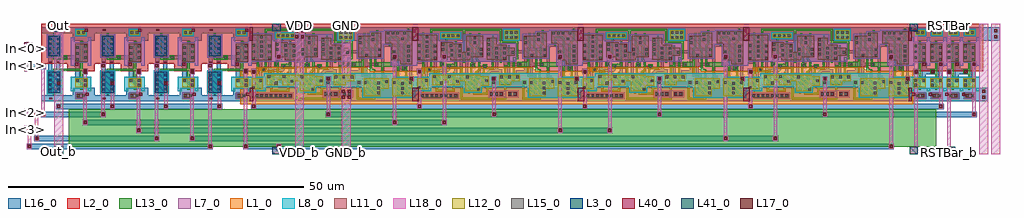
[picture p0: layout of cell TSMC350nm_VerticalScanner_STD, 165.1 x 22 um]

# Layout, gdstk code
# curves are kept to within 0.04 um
from math import pi, radians
import gdstk
lib = gdstk.Library(unit=1e-6, precision=1e-09)
def R(c, l, rs):  # rectangles x0, y0, x1, y1
    for r in rs: c.add(gdstk.rectangle(r[:2], r[2:], *l))
def A(c, l, x, y, w, h, nx, ny, dx, dy):  # array of equal rectangles
    R(c, l, [(x+i*dx, y+j*dy, x+i*dx+w, y+j*dy+h) for i in range(nx) for j in range(ny)])
def P(c, l, *ps):  # polygons
    for p in ps: c.add(gdstk.Polygon(p, *l))
L1_0 = (1, 0)
L2_0 = (2, 0)
L3_0 = (3, 0)
L7_0 = (7, 0)
L8_0 = (8, 0)
L11_0 = (11, 0)
L12_0 = (12, 0)
L13_0 = (13, 0)
L15_0 = (15, 0)
L16_0 = (16, 0)
L17_0 = (17, 0)
L18_0 = (18, 0)
L40_0 = (40, 0)
L41_0 = (41, 0)

nch_cdns_757437017560 = lib.new_cell('nch_CDNS_757437017560')
R(nch_cdns_757437017560, L3_0, [(-0.85,0,-0.15,3.5), (-0.85,0,-0.15,3.5), (-0.15,0,0.5,3.5), (0.5,0,1.2,3.5), (0.5,0,1.2,3.5)])
R(nch_cdns_757437017560, L8_0, [(-1.1,-0.25,1.45,3.75)])
R(nch_cdns_757437017560, L13_0, [(0,-0.4,0.35,3.9)])
A(nch_cdns_757437017560, L15_0, -0.7, 0.35, 0.4, 0.4, 1, 4, 0, 0.8)
A(nch_cdns_757437017560, L15_0, 0.65, 0.35, 0.4, 0.4, 1, 4, 0, 0.8)
R(nch_cdns_757437017560, L16_0, [(-0.85,0,-0.15,3.5), (0.5,0,1.2,3.5)])
nch_cdns_757437017560.add(gdstk.Label('& SerialNumber 000000', (0,0), layer=16, texttype=0))
nch_cdns_757437017560.add(gdstk.Label('& Distributor VIS', (0,0), layer=16, texttype=0))
nch_cdns_757437017560.add(gdstk.Label('& Metric 1', (0,0), layer=16, texttype=0))
nch_cdns_757437017560.add(gdstk.Label('& Version    \t  1.7A', (0,0), layer=16, texttype=0))
nch_cdns_757437017560.add(gdstk.Label('& PDKName     vis35cv', (0,0), layer=16, texttype=0))
nch_cdns_757437017560.add(gdstk.Label('& Vendor VIS Corp.', (0,0), layer=16, texttype=0))
nch_cdns_757437017560.add(gdstk.Label('D', (0.85,1.75), layer=59, texttype=0))
nch_cdns_757437017560.add(gdstk.Label('S', (-0.5,1.75), layer=59, texttype=0))
nch_cdns_757437017560.add(gdstk.Label('G', (0.175,1.75), layer=59, texttype=0))
nch_cdns_757437017560.add(gdstk.Label('& SerialNumber 000000', (0,0), layer=63, texttype=63))
nch_cdns_757437017560.add(gdstk.Label('& Distributor VIS', (0,0), layer=63, texttype=63))
nch_cdns_757437017560.add(gdstk.Label('& Metric 1', (0,0), layer=63, texttype=63))
nch_cdns_757437017560.add(gdstk.Label('& Version    \t  1.7A', (0,0), layer=63, texttype=63))
nch_cdns_757437017560.add(gdstk.Label('& PDKName     vis35cv', (0,0), layer=63, texttype=63))
nch_cdns_757437017560.add(gdstk.Label('& Vendor VIS Corp.', (0,0), layer=63, texttype=63))

pch_cdns_757437017561 = lib.new_cell('pch_CDNS_757437017561')
R(pch_cdns_757437017561, L2_0, [(-2.05,-1.2,2.4,4.7)])
R(pch_cdns_757437017561, L3_0, [(-0.85,0,-0.15,3.5), (-0.85,0,-0.15,3.5), (-0.15,0,0.5,3.5), (0.5,0,1.2,3.5), (0.5,0,1.2,3.5)])
R(pch_cdns_757437017561, L7_0, [(-1.1,-0.25,1.45,3.75)])
R(pch_cdns_757437017561, L13_0, [(0,-0.4,0.35,3.9)])
A(pch_cdns_757437017561, L15_0, -0.7, 0.35, 0.4, 0.4, 1, 4, 0, 0.8)
A(pch_cdns_757437017561, L15_0, 0.65, 0.35, 0.4, 0.4, 1, 4, 0, 0.8)
R(pch_cdns_757437017561, L16_0, [(-0.85,0,-0.15,3.5), (0.5,0,1.2,3.5)])
pch_cdns_757437017561.add(gdstk.Label('& SerialNumber 000000', (0,0), layer=16, texttype=0))
pch_cdns_757437017561.add(gdstk.Label('& Distributor VIS', (0,0), layer=16, texttype=0))
pch_cdns_757437017561.add(gdstk.Label('& Metric 1', (0,0), layer=16, texttype=0))
pch_cdns_757437017561.add(gdstk.Label('& Version    \t  1.7A', (0,0), layer=16, texttype=0))
pch_cdns_757437017561.add(gdstk.Label('& PDKName     vis35cv', (0,0), layer=16, texttype=0))
pch_cdns_757437017561.add(gdstk.Label('& Vendor VIS Corp.', (0,0), layer=16, texttype=0))
pch_cdns_757437017561.add(gdstk.Label('D', (0.85,1.75), layer=59, texttype=0))
pch_cdns_757437017561.add(gdstk.Label('S', (-0.5,1.75), layer=59, texttype=0))
pch_cdns_757437017561.add(gdstk.Label('G', (0.175,1.75), layer=59, texttype=0))
pch_cdns_757437017561.add(gdstk.Label('& SerialNumber 000000', (0,0), layer=63, texttype=63))
pch_cdns_757437017561.add(gdstk.Label('& Distributor VIS', (0,0), layer=63, texttype=63))
pch_cdns_757437017561.add(gdstk.Label('& Metric 1', (0,0), layer=63, texttype=63))
pch_cdns_757437017561.add(gdstk.Label('& Version    \t  1.7A', (0,0), layer=63, texttype=63))
pch_cdns_757437017561.add(gdstk.Label('& PDKName     vis35cv', (0,0), layer=63, texttype=63))
pch_cdns_757437017561.add(gdstk.Label('& Vendor VIS Corp.', (0,0), layer=63, texttype=63))

inv0 = lib.new_cell('INV0')
R(inv0, L2_0, [(-1.6,5.05,3,13.05)])
R(inv0, L7_0, [(-0.3,0.3,1.7,1.5)])
P(inv0, L7_0, [(-1,6),(-1,10.8),(-0.4,10.8),(-0.4,9.95),(1.8,9.95),(1.8,10.8),(2.4,10.8),(2.4,6),(1.8,6),(1.8,6.45),(-0.4,6.45),(-0.4,6)])
R(inv0, L8_0, [(-0.3,11,1.7,12.2)])
P(inv0, L8_0, [(-1,1.7),(-1,4.1),(2.4,4.1),(2.4,1.7),(1.8,1.7),(1.8,2.1),(-0.4,2.1),(-0.4,1.7)])
R(inv0, L11_0, [(-0.05,0.55,1.45,1.25), (-0.4,6.7,1.65,9.7)])
R(inv0, L12_0, [(-0.4,2.35,1.65,3.85), (-0.05,11.25,1.45,11.95)])
P(inv0, L13_0, [(0.45,1.95),(0.45,4.6),(-0.4,4.6),(-0.4,5.4),(0.45,5.4),(0.45,10.1),(0.8,10.1),(0.8,1.95)])
A(inv0, L15_0, 1.1, 6.85, 0.4, 0.4, 1, 3, 0, 1)
A(inv0, L15_0, -0.25, 7.15, 0.4, 0.4, 1, 3, 0, 1)
R(inv0, L15_0, [(0.1,0.7,0.5,1.1), (0.9,0.7,1.3,1.1), (-0.25,2.5,0.15,2.9), (-0.25,3.3,0.15,3.7), (1.1,3.3,1.5,3.7), (-0.2,4.8,0.2,5.2), (0.1,11.4,0.5,11.8), (0.9,11.4,1.3,11.8)])
R(inv0, L16_0, [(-0.45,4.55,0.45,5.45)])
P(inv0, L16_0, [(0.95,3.15),(0.95,9.4),(1.65,9.4),(1.65,6.7),(1.85,6.7),(1.85,5.8),(1.65,5.8),(1.65,3.15)],
  [(-0.4,7),(-0.4,10.2),(-0.7,10.2),(-0.7,12.5),(2.1,12.5),(2.1,10.2),(0.3,10.2),(0.3,7)],
  [(-0.7,0),(-0.7,2.3),(-0.4,2.3),(-0.4,3.85),(0.3,3.85),(0.3,2.3),(2.1,2.3),(2.1,0)])
R(inv0, L40_0, [(-0.625,0.9,-0.125,1.4), (-0.25,4.75,0.25,5.25), (1.15,6,1.65,6.5), (-0.425,11.75,0.075,12.25)])
inv0.add(gdstk.Label('VSS', (-0.375,1.15), layer=40, texttype=0))
inv0.add(gdstk.Label('VDD', (-0.175,12), layer=40, texttype=0))
inv0.add(gdstk.Label('I', (0,5), layer=40, texttype=0))
inv0.add(gdstk.Label('ZN', (1.4,6.25), layer=40, texttype=0))

m1_poly1_cdns_7574370175 = lib.new_cell('M1_POLY1_CDNS_757437017563')
R(m1_poly1_cdns_7574370175, L13_0, [(-0.4,-0.4,0.4,0.4)])
R(m1_poly1_cdns_7574370175, L15_0, [(-0.2,-0.2,0.2,0.2)])
R(m1_poly1_cdns_7574370175, L16_0, [(-0.35,-0.35,0.35,0.35)])

tgate_with_inverter = lib.new_cell('tgate_with_inverter')
R(tgate_with_inverter, L2_0, [(0,12.25,4.45,13.05)])
R(tgate_with_inverter, L13_0, [(2.05,5.15,6.65,5.5), (2.05,7,4.45,7.35)])
R(tgate_with_inverter, L16_0, [(0,0,6.9,1), (8.15,0,9.05,2.3), (1.2,4.95,1.9,7.55), (2.55,4.95,3.25,7.55), (5.6,6.7,5.8,7.05), (4.4,7.05,5.8,7.75), (8.15,10.2,9.05,12.5), (0,11.5,6.9,12.5)])
R(tgate_with_inverter, L40_0, [(1.36,0.3,1.91,0.57), (7.21,5.25,7.69,5.38), (1.38,6.48,1.72,6.63), (2.73,6.48,3.07,6.63), (1.36,11.89,1.91,12.16)])
tgate_with_inverter.add(gdstk.Reference(nch_cdns_757437017560, (2.05,1.45)))
tgate_with_inverter.add(gdstk.Reference(pch_cdns_757437017561, (2.05,7.55)))
tgate_with_inverter.add(gdstk.Reference(inv0, (7.45,0), rotation=pi, x_reflection=True))
tgate_with_inverter.add(gdstk.Reference(m1_poly1_cdns_7574370175, (4.05,7.4)))
tgate_with_inverter.add(gdstk.Label('GND', (1.64,0.43), layer=40, texttype=0))
tgate_with_inverter.add(gdstk.Label('B', (2.9,6.55), layer=40, texttype=0))
tgate_with_inverter.add(gdstk.Label('A', (1.55,6.55), layer=40, texttype=0))
tgate_with_inverter.add(gdstk.Label('Sel', (7.45,5.31), layer=40, texttype=0))
tgate_with_inverter.add(gdstk.Label('VDD', (1.64,12.02), layer=40, texttype=0))

inv0_0 = lib.new_cell('INV0_0')
R(inv0_0, L2_0, [(-1.6,5.05,3,13.05)])
R(inv0_0, L7_0, [(-0.3,0.3,1.7,1.5)])
P(inv0_0, L7_0, [(-1,6),(-1,10.8),(-0.4,10.8),(-0.4,9.95),(1.8,9.95),(1.8,10.8),(2.4,10.8),(2.4,6),(1.8,6),(1.8,6.45),(-0.4,6.45),(-0.4,6)])
R(inv0_0, L8_0, [(-0.3,11,1.7,12.2)])
P(inv0_0, L8_0, [(-1,1.7),(-1,4.1),(2.4,4.1),(2.4,1.7),(1.8,1.7),(1.8,2.1),(-0.4,2.1),(-0.4,1.7)])
R(inv0_0, L11_0, [(-0.05,0.55,1.45,1.25), (-0.4,6.7,1.65,9.7)])
R(inv0_0, L12_0, [(-0.4,2.35,1.65,3.85), (-0.05,11.25,1.45,11.95)])
P(inv0_0, L13_0, [(0.45,1.95),(0.45,4.6),(-0.4,4.6),(-0.4,5.4),(0.45,5.4),(0.45,10.1),(0.8,10.1),(0.8,1.95)])
A(inv0_0, L15_0, 1.1, 6.85, 0.4, 0.4, 1, 3, 0, 1)
A(inv0_0, L15_0, -0.25, 7.15, 0.4, 0.4, 1, 3, 0, 1)
R(inv0_0, L15_0, [(0.1,0.7,0.5,1.1), (0.9,0.7,1.3,1.1), (-0.25,2.5,0.15,2.9), (-0.25,3.3,0.15,3.7), (1.1,3.3,1.5,3.7), (-0.2,4.8,0.2,5.2), (0.1,11.4,0.5,11.8), (0.9,11.4,1.3,11.8)])
R(inv0_0, L16_0, [(-0.45,4.55,0.45,5.45)])
P(inv0_0, L16_0, [(0.95,3.15),(0.95,9.4),(1.65,9.4),(1.65,6.7),(1.85,6.7),(1.85,5.8),(1.65,5.8),(1.65,3.15)],
  [(-0.4,7),(-0.4,10.2),(-0.7,10.2),(-0.7,12.5),(2.1,12.5),(2.1,10.2),(0.3,10.2),(0.3,7)],
  [(-0.7,0),(-0.7,2.3),(-0.4,2.3),(-0.4,3.85),(0.3,3.85),(0.3,2.3),(2.1,2.3),(2.1,0)])
R(inv0_0, L40_0, [(-0.625,0.9,-0.125,1.4), (-0.25,4.75,0.25,5.25), (1.15,6,1.65,6.5), (-0.425,11.75,0.075,12.25)])
inv0_0.add(gdstk.Label('VSS!', (-0.375,1.15), layer=40, texttype=0))
inv0_0.add(gdstk.Label('VDD!', (-0.175,12), layer=40, texttype=0))
inv0_0.add(gdstk.Label('I', (0,5), layer=40, texttype=0))
inv0_0.add(gdstk.Label('ZN', (1.4,6.25), layer=40, texttype=0))

m2_m1_cdns_757437017560 = lib.new_cell('M2_M1_CDNS_757437017560')
R(m2_m1_cdns_757437017560, L16_0, [(-0.45,-0.45,0.45,0.45)])
R(m2_m1_cdns_757437017560, L17_0, [(-0.25,-0.25,0.25,0.25)])
R(m2_m1_cdns_757437017560, L18_0, [(-0.4,-0.4,0.4,0.4)])

dfcn1 = lib.new_cell('DFCN1')
P(dfcn1, L1_0, [(-1.6,-0.55),(-1.6,5.05),(1.1,5.05),(1.1,5.7),(19.8,5.7),(20.45,5.05),(28.2,5.05),(28.2,-0.55)])
P(dfcn1, L2_0, [(-0.9,5.05),(-0.9,13.05),(28.9,13.05),(28.9,5.05),(21.15,5.05),(20.5,5.7),(1.8,5.7),(1.8,5.05)])
R(dfcn1, L7_0, [(0.6,0.3,7.4,1.5), (12.3,0.55,17.5,1.85)])
P(dfcn1, L7_0, [(-0.3,6),(-0.3,10.8),(0,10.8),(0,11.45),(3.95,11.45),(3.95,10.2),(6.65,10.2),(6.65,9.95),(8.1,9.95),(8.1,11.35),(14,11.35),(14,9.8),(17.1,9.8),(17.1,6.65),(0.3,6.65),(0.3,6)],
  [(23.8,6),(23.8,9.5),(22.65,9.5),(22.65,7.15),(18.05,7.15),(18.05,11.4),(20.25,11.4),(20.25,11.85),(22.65,11.85),(22.65,12.1),(28,12.1),(28,10.8),(28.3,10.8),(28.3,6)])
R(dfcn1, L8_0, [(14.8,10.2,17.65,12.2), (4.2,10.45,7.8,11.65)])
P(dfcn1, L8_0, [(19,0.55),(19,2.35),(11.25,2.35),(11.25,1.4),(8.2,1.4),(8.2,2.35),(2.7,2.35),(2.7,1.7),(-0.3,1.7),(-0.3,4.1),(2.35,4.1),(2.35,4.75),(24.275,4.75),(24.275,4.1),(28.3,4.1),(28.3,1.7),(28,1.7),(28,0.55)])
R(dfcn1, L11_0, [(0.85,0.55,7.15,1.25), (12.55,0.85,14.85,1.55), (15.7,0.85,17.2,1.55), (0.3,6.9,3.7,11.2)])
P(dfcn1, L11_0, [(13.5,6.9),(13.5,7),(12.05,7),(12.05,10.7),(13.75,10.7),(13.75,9.5),(15.45,9.5),(15.45,9.05),(16.85,9.05),(16.85,7.65),(15.45,7.65),(15.45,6.9)],
  [(25.45,6.25),(25.45,6.9),(24.05,6.9),(24.05,9.8),(22.95,9.8),(22.95,11.85),(27.5,11.85),(27.5,6.25)],
  [(5.9,6.9),(5.9,7.45),(4.3,7.45),(4.3,9.95),(6.4,9.95),(6.4,9.7),(7.85,9.7),(7.85,8.3),(8.6,8.3),(8.6,11.05),(11.45,11.05),(11.45,7.4),(9.25,7.4),(9.25,6.9)],
  [(18.3,7.4),(18.3,11.05),(20.5,11.05),(20.5,11.6),(22.25,11.6),(22.25,7.4)])
R(dfcn1, L12_0, [(24.1,0.85,27.5,3.85), (0.3,2,2.2,3.85), (15.1,10.45,17.4,11.95), (4.45,10.7,7.55,11.4)])
P(dfcn1, L12_0, [(19.25,0.85),(19.25,3.85),(23.5,3.85),(23.5,2.1),(22.1,2.1),(22.1,0.85)],
  [(8.45,1.65),(8.45,3.4),(7.5,3.4),(7.5,2.7),(5.5,2.7),(5.5,3.5),(4.75,3.5),(4.75,2.7),(2.9,2.7),(2.9,4.5),(11,4.5),(11,4.2),(12.4,4.2),(12.4,2.6),(11,2.6),(11,1.65)],
  [(14.2,2.7),(14.2,4.5),(17.65,4.5),(17.65,3.4),(16.2,3.4),(16.2,2.7)])
P(dfcn1, L13_0, [(4.95,3.1),(4.95,4.7),(4.55,4.7),(4.55,5.9),(4.1,5.9),(4.1,6.7),(4.55,6.7),(4.55,7.25),(5.15,7.25),(5.15,10.35),(5.5,10.35),(5.5,6.9),(4.9,6.9),(4.9,5.05),(5.3,5.05),(5.3,3.1)],
  [(1.15,1.6),(1.15,2.75),(1,2.9),(1,4.6),(0.3,4.6),(0.3,5.4),(1.15,5.4),(1.15,11.6),(1.5,11.6),(1.5,4.6),(1.35,4.6),(1.35,3.05),(1.5,2.9),(1.5,1.6)],
  [(9.8,1.05),(9.8,2.65),(10.15,3),(10.15,4.95),(10.6,5.4),(10.6,6.6),(10.25,6.95),(10.25,9.25),(10.6,9.6),(10.6,11.45),(10.95,11.45),(10.95,9.45),(10.6,9.1),(10.6,7.1),(10.95,6.75),(10.95,5.25),(10.5,4.8),(10.5,2.85),(10.15,2.5),(10.15,1.4),(12,1.4),(12,2.4),(12.8,2.4),(12.8,3.55),(13.6,3.55),(13.6,2.75),(13.15,2.75),(13.15,2.05),(12.35,2.05),(12.35,1.05)],
  [(18.05,0.25),(18.05,3.55),(18.85,3.55),(18.85,2.75),(18.4,2.75),(18.4,0.6),(20.9,0.6),(20.9,5),(20.25,5),(20.25,8.65),(19.95,8.95),(19.95,11.45),(20.3,11.45),(20.3,9.1),(20.6,8.8),(20.6,5.35),(21.25,5.35),(21.25,0.25)],
  [(8.95,1.25),(8.95,3.1),(9.3,3.45),(9.3,6.4),(9.45,6.4),(9.45,9.1),(9.1,9.45),(9.1,11.45),(9.45,11.45),(9.45,9.6),(9.8,9.25),(9.8,6.4),(10.15,6.4),(10.15,5.6),(9.65,5.6),(9.65,3.3),(9.3,2.95),(9.3,1.25)],
  [(11.2,2.2),(11.2,4.65),(11.4,4.85),(11.4,6.25),(12.2,6.25),(12.2,5.7),(12.9,5.7),(12.9,11.1),(13.25,11.1),(13.25,5.35),(11.75,5.35),(11.75,4.7),(11.55,4.5),(11.55,2.2)],
  [(18.85,1.5),(18.85,1.85),(19.95,1.85),(20.1,2),(20.1,4.15),(18.9,4.15),(18.9,5.85),(17.25,5.85),(17.25,6.65),(18.9,6.65),(18.9,8.95),(19.15,9.2),(19.15,11.45),(19.5,11.45),(19.5,9.05),(19.25,8.8),(19.25,4.5),(20.45,4.5),(20.45,1.85),(20.1,1.5)],
  [(24.95,0.45),(24.9,5.8),(22.6,5.8),(22.6,2.9),(22.75,2.75),(22.75,1.7),(22.4,1.7),(22.4,2.6),(22.25,2.75),(22.25,5.8),(21.05,5.8),(21.05,9.45),(21.4,9.8),(21.4,12),(21.75,12),(21.75,9.65),(21.4,9.3),(21.4,6.6),(24.9,6.6),(24.9,10.5),(24.75,10.65),(23.95,10.65),(23.85,10.55),(23.85,9.4),(23.5,9.4),(23.5,10.7),(23.8,11),(24.9,11),(25.25,10.65),(25.3,0.45)],
  [(26.3,0.45),(26.3,5.25),(25.8,5.25),(25.8,6.05),(25.95,6.05),(25.95,9.8),(26.65,10.5),(26.65,12.25),(27,12.25),(27,10.35),(26.3,9.65),(26.3,6.05),(26.65,6.05),(26.65,0.45)],
  [(3.45,1.6),(3.45,3.5),(3.75,3.8),(3.75,4.9),(1.95,4.9),(1.95,5.7),(2.5,5.7),(2.5,12.25),(14.6,12.25),(14.6,10.25),(17.4,10.25),(17.4,7.1),(16.8,7.1),(16.8,3),(16.45,3),(16.45,7.45),(17.05,7.45),(17.05,9.9),(14.6,9.9),(14.6,6.5),(14.25,6.5),(14.25,11.9),(8.4,11.9),(8.4,6.5),(8.05,6.5),(8.05,11.9),(2.85,11.9),(2.85,5.25),(4.1,5.25),(4.1,3.65),(3.8,3.35),(3.8,1.95),(6.3,1.95),(6.3,4.9),(6.65,4.9),(6.65,1.6)],
  [(7.7,0.25),(7.7,5.5),(5.35,5.5),(5.35,6.3),(6.65,6.3),(6.65,10.1),(7,10.1),(7,5.85),(8.05,5.85),(8.05,0.6),(15.05,0.6),(15.05,6.05),(15.65,6.05),(15.65,9.45),(16,9.45),(16,5.7),(15.4,5.7),(15.4,0.25)])
A(dfcn1, L15_0, 1, 0.7, 0.4, 0.4, 8, 1, 0.8, 0)
A(dfcn1, L15_0, 12.7, 1, 0.4, 0.4, 3, 1, 0.8, 0)
A(dfcn1, L15_0, 21.55, 1.15, 0.4, 0.4, 1, 3, 0, 0.85)
A(dfcn1, L15_0, 25.6, 1.15, 0.4, 0.4, 1, 3, 0, 0.8)
A(dfcn1, L15_0, 26.65, 6.65, 0.4, 0.4, 1, 4, 0, 0.8)
A(dfcn1, L15_0, 13.55, 7.15, 0.4, 0.4, 1, 3, 0, 0.8)
A(dfcn1, L15_0, 1.8, 7.45, 0.4, 0.4, 1, 5, 0, 0.8)
A(dfcn1, L15_0, 12.2, 7.75, 0.4, 0.4, 1, 4, 0, 0.8)
A(dfcn1, L15_0, 15.25, 10.6, 0.4, 0.4, 3, 2, 0.8, 0.8)
A(dfcn1, L15_0, 4.6, 10.85, 0.4, 0.4, 4, 1, 0.8, 0)
A(dfcn1, L15_0, 23.2, 11.3, 0.4, 0.4, 3, 1, 0.8, 0)
R(dfcn1, L15_0, [(15.85,1,16.25,1.4), (16.65,1,17.05,1.4), (10.45,1.8,10.85,2.2), (0.45,2.15,0.85,2.55), (4.2,2.85,4.6,3.25), (13,2.95,13.4,3.35), (18.25,2.95,18.65,3.35), (19.4,2.95,19.8,3.35), (24.25,2.95,24.65,3.35), (26.95,2.95,27.35,3.35), (22.95,3.1,23.35,3.5), (6.95,3.15,7.35,3.55), (11.85,3.25,12.25,3.65), (1.65,3.3,2.05,3.7), (8.6,3.85,9,4.25), (14.35,3.9,14.75,4.3), (15.7,3.9,16.1,4.3), (17.1,3.9,17.5,4.3), (3.05,3.95,3.45,4.35), (5.6,3.95,6,4.35), (0.5,4.8,0.9,5.2), (2.15,5.1,2.55,5.5), (26,5.45,26.4,5.85), (11.6,5.65,12,6.05), (5.55,5.7,5.95,6.1), (9.55,5.8,9.95,6.2), (21.25,6,21.65,6.4), (17.45,6.05,17.85,6.45), (4.3,6.1,4.7,6.5), (0.45,7.05,0.85,7.45), (14.9,7.05,15.3,7.45), (24.2,7.05,24.6,7.45), (3.15,7.1,3.55,7.5), (7.3,7.5,7.7,7.9), (19.55,7.55,19.95,7.95), (21.7,7.55,22.1,7.95), (5.95,7.6,6.35,8), (8.75,7.75,9.15,8.15), (10.9,7.75,11.3,8.15), (14.9,7.95,15.3,8.35), (16.3,8.05,16.7,8.45), (0.45,8.15,0.85,8.55), (3.15,8.15,3.55,8.55), (24.2,8.15,24.6,8.55), (7.3,8.3,7.7,8.7), (5.95,8.4,6.35,8.8), (21.7,8.5,22.1,8.9), (4.45,8.55,4.85,8.95), (8.75,8.55,9.15,8.95), (10.9,8.55,11.3,8.95), (14.9,8.75,15.3,9.15), (3.15,9.15,3.55,9.55), (7.3,9.15,7.7,9.55), (0.45,9.2,0.85,9.6), (5.85,9.2,6.25,9.6), (4.45,9.4,4.85,9.8), (9.85,9.7,10.25,10.1), (18.45,9.7,18.85,10.1), (20.65,10.25,21.05,10.65), (25.6,10.35,26,10.75), (9.85,10.5,10.25,10.9), (18.45,10.5,18.85,10.9), (20.65,11.05,21.05,11.45), (25.95,11.3,26.35,11.7)])
R(dfcn1, L16_0, [(0.25,4.55,1.15,5.45)])
P(dfcn1, L16_0, [(12.85,2.8),(12.85,4.2),(13.75,4.2),(13.75,3.3),(18.1,3.3),(18.1,3.5),(18.8,3.5),(18.8,2.8)],
  [(4.15,5.95),(4.15,6.65),(4.35,6.65),(4.35,7.95),(5.35,7.95),(5.35,7.05),(4.85,7.05),(4.85,5.95)],
  [(24.1,2.8),(24.1,3.5),(24.4,3.5),(24.4,6.9),(24.05,6.9),(24.05,8.7),(24.75,8.7),(24.75,7.95),(24.95,7.95),(24.95,7.05),(24.9,7.05),(24.9,2.8)],
  [(26.8,2.8),(26.8,3.5),(26.85,3.5),(26.85,4.2),(27,4.2),(27,6.5),(26.5,6.5),(26.5,9.6),(27.2,9.6),(27.2,7.2),(27.5,7.2),(27.5,4.2),(27.75,4.2),(27.75,3.3),(27.5,3.3),(27.5,2.8)],
  [(1.65,7.3),(1.65,10.2),(0,10.2),(0,12.5),(28,12.5),(28,10.2),(21.2,10.2),(21.2,10.1),(20.5,10.1),(20.5,10.2),(19,10.2),(19,9.55),(18.3,9.55),(18.3,10.2),(12.75,10.2),(12.75,7.6),(12.05,7.6),(12.05,10.2),(10.4,10.2),(10.4,9.55),(9.7,9.55),(9.7,10.2),(5,10.2),(5,8.4),(4.3,8.4),(4.3,10.2),(2.35,10.2),(2.35,7.3)],
  [(0,0),(0,2.3),(0.3,2.3),(0.3,2.7),(1,2.7),(1,2.3),(4.05,2.3),(4.05,3.4),(4.75,3.4),(4.75,2.3),(10.3,2.3),(10.3,2.35),(11,2.35),(11,2.3),(21.4,2.3),(21.4,3.4),(22.1,3.4),(22.1,2.3),(25.45,2.3),(25.45,3.3),(26.15,3.3),(26.15,2.3),(28,2.3),(28,0)],
  [(19.25,2.8),(19.25,3.5),(19.4,3.5),(19.4,8.1),(20.1,8.1),(20.1,7.4),(19.9,7.4),(19.9,6.45),(21.1,6.45),(21.1,6.55),(21.8,6.55),(21.8,5.85),(21.1,5.85),(21.1,5.95),(19.9,5.95),(19.9,3.5),(19.95,3.5),(19.95,2.8)],
  [(8.45,3.7),(8.45,8.1),(8.6,8.1),(8.6,9.1),(9.3,9.1),(9.3,8.1),(10.75,8.1),(10.75,9.1),(11.45,9.1),(11.45,7.6),(8.95,7.6),(8.95,4.4),(9.15,4.4),(9.15,3.7)],
  [(11.7,3.1),(11.7,3.8),(11.85,3.8),(11.85,4.6),(12.6,5.35),(13.5,5.35),(13.5,6.65),(10.1,6.65),(10.1,5.65),(9.4,5.65),(9.4,6.35),(9.6,6.35),(9.6,7.15),(13.4,7.15),(13.4,9.3),(14.1,9.3),(14.1,7),(14,7),(14,5.35),(14.7,5.35),(14.7,4.45),(14.9,4.45),(14.9,3.75),(14.2,3.75),(14.2,4.85),(12.85,4.85),(12.35,4.35),(12.4,3.1)],
  [(15.55,3.75),(15.55,6),(14.95,6),(14.95,6.9),(14.75,6.9),(14.75,9.3),(15.45,9.3),(15.45,6.5),(17.3,6.5),(17.3,6.6),(18,6.6),(18,5.9),(17.3,5.9),(17.3,6),(16.05,6),(16.05,4.45),(16.25,4.45),(16.25,3.75)],
  [(1.5,3.15),(1.5,3.85),(1.6,3.85),(1.6,6.3),(0.3,6.3),(0.3,9.75),(1,9.75),(1,6.8),(2.1,6.8),(2.1,5.65),(2.7,5.65),(2.7,4.95),(2.1,4.95),(2.1,3.85),(2.2,3.85),(2.2,3.15)],
  [(2.9,3.8),(2.9,4.5),(3.15,4.5),(3.15,6.95),(3,6.95),(3,9.7),(3.7,9.7),(3.65,5.5),(5.15,5.5),(5.4,5.75),(5.4,6.25),(6.1,6.25),(6.1,5.55),(5.55,5),(3.65,5),(3.65,3.8)],
  [(5.45,3.8),(5.45,4.5),(5.95,4.5),(6.55,5.1),(6.55,6.5),(6,7.05),(6,7.45),(5.8,7.45),(5.8,9.05),(5.7,9.05),(5.7,9.75),(6.5,9.75),(6.5,7.3),(7.05,6.75),(7.05,4.8),(6.25,4),(6.15,4),(6.15,3.8)],
  [(7.5,2.75),(7.5,3),(6.8,3),(6.8,3.7),(7.5,3.7),(7.5,7.35),(7.15,7.35),(7.15,9.7),(7.85,9.7),(7.85,8.05),(8,8.05),(8,3.25),(9.55,3.25),(10.6,4.3),(10.6,6),(11.45,6),(11.45,6.2),(12.15,6.2),(12.15,5.55),(12.1,5.5),(11.1,5.5),(11.1,4.05),(9.8,2.75)],
  [(22.55,2.95),(22.55,3.9),(22.25,3.9),(22.25,7.4),(21.55,7.4),(21.55,8.55),(18.95,8.55),(18.95,4.75),(17.65,4.75),(17.65,3.75),(16.95,3.75),(16.95,5.25),(18.45,5.25),(18.45,8.1),(16.85,8.1),(16.85,7.9),(16.15,7.9),(16.15,8.6),(18.45,8.6),(18.45,9.05),(22.25,9.05),(22.25,9.7),(25.95,9.7),(25.95,6),(26.55,6),(26.55,5.3),(25.45,5.3),(25.45,9.2),(22.75,9.2),(22.75,4.4),(23.05,4.4),(23.05,3.65),(23.5,3.65),(23.5,2.95)])
R(dfcn1, L40_0, [(0,0,0.55,2.3), (27.45,0,28,2.3), (0,10.2,0.51,12.5), (27.45,10.2,28,12.5)])
R(dfcn1, L41_0, [(13.05,3.5,13.55,4), (27.05,3.5,27.55,4), (0.45,4.75,0.95,5.25), (4.65,7.25,5.15,7.75), (24.25,7.25,24.75,7.75)])
dfcn1.add(gdstk.Reference(m2_m1_cdns_757437017560, (0.7,5)))
dfcn1.add(gdstk.Reference(m2_m1_cdns_757437017560, (4.9,7.5)))
dfcn1.add(gdstk.Reference(m2_m1_cdns_757437017560, (13.3,3.74)))
dfcn1.add(gdstk.Reference(m2_m1_cdns_757437017560, (27.3,3.75)))
dfcn1.add(gdstk.Reference(m2_m1_cdns_757437017560, (24.5,7.5)))
dfcn1.add(gdstk.Label('VSS', (0.28,1.21), layer=40, texttype=0))
dfcn1.add(gdstk.Label('VDD', (0.22,11.42), layer=40, texttype=0))
dfcn1.add(gdstk.Label('VDD', (27.67,11.42), layer=40, texttype=0))
dfcn1.add(gdstk.Label('VSS', (27.73,1.21), layer=40, texttype=0))
dfcn1.add(gdstk.Label('& SerialNumber 000000', (0.7,0), layer=11, texttype=0))
dfcn1.add(gdstk.Label('& Distributor Vanguard', (0.7,0), layer=11, texttype=0))
dfcn1.add(gdstk.Label('& Metric 350.0', (0.7,0), layer=11, texttype=0))
dfcn1.add(gdstk.Label('& Version 400c', (0.7,0), layer=11, texttype=0))
dfcn1.add(gdstk.Label('& Product tcb773p', (0.7,0), layer=11, texttype=0))
dfcn1.add(gdstk.Label('& Vendor Taiwan Semiconductor Manufacturing Corp.', (0.7,0), layer=11, texttype=0))
dfcn1.add(gdstk.Label('& Vendor Taiwan Semiconductor Manufacturing Corp.', (28.15,0), layer=11, texttype=0))
dfcn1.add(gdstk.Label('& Product tcb773p', (28.15,0), layer=11, texttype=0))
dfcn1.add(gdstk.Label('& Version 400c', (28.15,0), layer=11, texttype=0))
dfcn1.add(gdstk.Label('& Metric 350.0', (28.15,0), layer=11, texttype=0))
dfcn1.add(gdstk.Label('& Distributor Vanguard', (28.15,0), layer=11, texttype=0))
dfcn1.add(gdstk.Label('& SerialNumber 000000', (28.15,0), layer=11, texttype=0))
dfcn1.add(gdstk.Label('QN', (27.3,3.75), layer=41, texttype=0))
dfcn1.add(gdstk.Label('Q', (24.5,7.5), layer=41, texttype=0))
dfcn1.add(gdstk.Label('CDN', (13.3,3.75), layer=41, texttype=0))
dfcn1.add(gdstk.Label('CP', (0.7,5), layer=41, texttype=0))
dfcn1.add(gdstk.Label('D', (4.9,7.5), layer=41, texttype=0))
dfcn1.add(gdstk.Label('DFCN1', (0,0), layer=62, texttype=0))

m2_m1_cdns_757437017561 = lib.new_cell('M2_M1_CDNS_757437017561')
R(m2_m1_cdns_757437017561, L16_0, [(-0.95,-0.95,0.95,0.95)])
R(m2_m1_cdns_757437017561, L17_0, [(-0.75,-0.75,-0.25,-0.25), (0.25,-0.75,0.75,-0.25), (-0.75,0.25,-0.25,0.75), (0.25,0.25,0.75,0.75)])
R(m2_m1_cdns_757437017561, L18_0, [(-0.9,-0.9,0.9,0.9)])

m2_m1_cdns_757437017562 = lib.new_cell('M2_M1_CDNS_757437017562')
R(m2_m1_cdns_757437017562, L16_0, [(-0.45,-0.95,0.45,0.95)])
R(m2_m1_cdns_757437017562, L17_0, [(-0.25,-0.75,0.25,-0.25), (-0.25,0.25,0.25,0.75)])
R(m2_m1_cdns_757437017562, L18_0, [(-0.4,-0.9,0.4,0.9)])

tsmc350nm_verticalscanne = lib.new_cell('TSMC350nm_VerticalScanner_STD')
R(tsmc350nm_verticalscanne, L13_0, [(7.55,1.24,154.33,7.57)])
R(tsmc350nm_verticalscanne, L16_0, [(0,3.5,1.4,4.9), (0,6.3,1.5,7.7), (161.4,8.95,163.1,11.25), (152.55,13.5,153.25,14.4), (158.15,13.5,158.85,14.4), (0,14,1.4,15.4), (152.55,14.4,152.75,14.75), (158.15,14.4,158.35,14.75), (0,17.5,1.4,18.9), (161.4,19.15,165.1,21.44)])
R(tsmc350nm_verticalscanne, L18_0, [(42,0,43.4,1.23), (149.8,0,151.2,1.23), (156.1,0,157.5,1.23), (42,20.77,43.4,22), (149.8,20.77,151.2,22), (156.1,20.77,157.5,22)])
R(tsmc350nm_verticalscanne, L40_0, [(0,3.5,1.4,4.9), (0,6.3,1.5,7.7), (0,14,1.4,15.4), (0,17.5,1.4,18.9)])
R(tsmc350nm_verticalscanne, L41_0, [(5.15,0,6.65,1.27), (42,0,43.4,1.23), (45.86,0,47.36,1.28), (53.79,0,55.29,1.23), (149.8,0,151.2,1.23), (156.1,0,157.5,1.23), (5.15,20.68,6.65,22), (42,20.77,43.4,22), (45.86,20.77,47.36,22), (149.8,20.77,151.2,22), (156.1,20.77,157.5,22), (53.79,20.84,55.29,22)])
tsmc350nm_verticalscanne.add(gdstk.FlexPath([(127.4,2.65),(28,2.65)], 0.9, ends="flush", simple_path=True, layer=16, datatype=0))  # L16_0
tsmc350nm_verticalscanne.add(gdstk.FlexPath([(31.8,1.3),(0.93,1.3)], 0.9, ends="flush", simple_path=True, layer=16, datatype=0))  # L16_0
tsmc350nm_verticalscanne.add(gdstk.FlexPath([(13.7,6.7),(3.67,6.7)], 0.9, ends="flush", simple_path=True, layer=16, datatype=0))  # L16_0
tsmc350nm_verticalscanne.add(gdstk.FlexPath([(33.37,8.05),(5.45,8.05)], 0.9, ends="flush", simple_path=True, layer=16, datatype=0))  # L16_0
tsmc350nm_verticalscanne.add(gdstk.FlexPath([(37.45,1.3),(147,1.3)], 0.9, ends="flush", simple_path=True, layer=16, datatype=0))  # L16_0
tsmc350nm_verticalscanne.add(gdstk.FlexPath([(19.1,4),(99.4,4)], 0.9, ends="flush", simple_path=True, layer=16, datatype=0))  # L16_0
tsmc350nm_verticalscanne.add(gdstk.FlexPath([(10.05,5.35),(71.4,5.35)], 0.9, ends="flush", simple_path=True, layer=16, datatype=0))  # L16_0
tsmc350nm_verticalscanne.add(gdstk.FlexPath([(0,4.19),(1.35,4.19)], 0.5, ends="flush", simple_path=True, layer=16, datatype=0))  # L16_0
tsmc350nm_verticalscanne.add(gdstk.FlexPath([(0,7.04),(2.4,7.04)], 0.5, ends="flush", simple_path=True, layer=16, datatype=0))  # L16_0
tsmc350nm_verticalscanne.add(gdstk.FlexPath([(0,14.95),(3.65,14.95)], 0.5, ends="flush", simple_path=True, layer=16, datatype=0))  # L16_0
tsmc350nm_verticalscanne.add(gdstk.FlexPath([(0,17.8),(4.22,17.8)], 0.5, ends="flush", simple_path=True, layer=16, datatype=0))  # L16_0
tsmc350nm_verticalscanne.add(gdstk.FlexPath([(1.75,2.65),(22.45,2.65)], 0.9, ends="flush", simple_path=True, layer=16, datatype=0))  # L16_0
tsmc350nm_verticalscanne.add(gdstk.FlexPath([(38.6,8.05),(155.4,8.05)], 0.9, ends="flush", simple_path=True, layer=16, datatype=0))  # L16_0
tsmc350nm_verticalscanne.add(gdstk.FlexPath([(51.2,6.7),(161.12,6.7)], 0.9, ends="flush", simple_path=True, layer=16, datatype=0))  # L16_0
tsmc350nm_verticalscanne.add(gdstk.FlexPath([(43.1,1.54),(43.1,0)], 0.6, ends="flush", simple_path=True, layer=18, datatype=0))  # L18_0
tsmc350nm_verticalscanne.add(gdstk.FlexPath([(43.1,22),(43.1,16.05)], 0.6, ends="flush", simple_path=True, layer=18, datatype=0))  # L18_0
tsmc350nm_verticalscanne.add(gdstk.FlexPath([(54.54,22),(54.54,0)], 1.5, ends="flush", simple_path=True, layer=18, datatype=0))  # L18_0
tsmc350nm_verticalscanne.add(gdstk.FlexPath([(46.61,22),(46.61,0)], 1.5, ends="flush", simple_path=True, layer=18, datatype=0))  # L18_0
tsmc350nm_verticalscanne.add(gdstk.FlexPath([(33.05,12.01),(33.05,7.6)], 0.6, ends="flush", simple_path=True, layer=18, datatype=0))  # L18_0
tsmc350nm_verticalscanne.add(gdstk.FlexPath([(0.9,4.34),(0.9,0.85)], 0.6, ends="flush", simple_path=True, layer=18, datatype=0))  # L18_0
tsmc350nm_verticalscanne.add(gdstk.FlexPath([(14.95,12.01),(14.95,7.6)], 0.6, ends="flush", simple_path=True, layer=18, datatype=0))  # L18_0
tsmc350nm_verticalscanne.add(gdstk.FlexPath([(24,12.01),(24,7.6)], 0.6, ends="flush", simple_path=True, layer=18, datatype=0))  # L18_0
tsmc350nm_verticalscanne.add(gdstk.FlexPath([(2.1,2.25),(2.1,7.24)], 0.6, ends="flush", simple_path=True, layer=18, datatype=0))  # L18_0
tsmc350nm_verticalscanne.add(gdstk.FlexPath([(3.2,6.3),(3.2,15.14)], 0.6, ends="flush", simple_path=True, layer=18, datatype=0))  # L18_0
tsmc350nm_verticalscanne.add(gdstk.FlexPath([(31.5,14.94),(31.5,1.28)], 0.6, ends="flush", simple_path=True, layer=18, datatype=0))  # L18_0
tsmc350nm_verticalscanne.add(gdstk.FlexPath([(22.45,14.94),(22.45,2.2)], 0.6, ends="flush", simple_path=True, layer=18, datatype=0))  # L18_0
tsmc350nm_verticalscanne.add(gdstk.FlexPath([(13.4,14.94),(13.4,6.25)], 0.6, ends="flush", simple_path=True, layer=18, datatype=0))  # L18_0
tsmc350nm_verticalscanne.add(gdstk.FlexPath([(37.5,13.95),(37.5,0.85)], 0.6, ends="flush", simple_path=True, layer=18, datatype=0))  # L18_0
tsmc350nm_verticalscanne.add(gdstk.FlexPath([(28.45,13.95),(28.45,2.44)], 0.6, ends="flush", simple_path=True, layer=18, datatype=0))  # L18_0
tsmc350nm_verticalscanne.add(gdstk.FlexPath([(10.35,13.95),(10.35,4.9)], 0.6, ends="flush", simple_path=True, layer=18, datatype=0))  # L18_0
tsmc350nm_verticalscanne.add(gdstk.FlexPath([(19.4,13.95),(19.4,3.55)], 0.6, ends="flush", simple_path=True, layer=18, datatype=0))  # L18_0
tsmc350nm_verticalscanne.add(gdstk.FlexPath([(156.5,13.95),(156.5,0)], 0.6, ends="flush", simple_path=True, layer=18, datatype=0))  # L18_0
tsmc350nm_verticalscanne.add(gdstk.FlexPath([(156.5,13.95),(156.5,22)], 0.6, ends="flush", simple_path=True, layer=18, datatype=0))  # L18_0
tsmc350nm_verticalscanne.add(gdstk.FlexPath([(150.9,13.95),(150.9,0)], 0.6, ends="flush", simple_path=True, layer=18, datatype=0))  # L18_0
tsmc350nm_verticalscanne.add(gdstk.FlexPath([(150.9,13.95),(150.9,22)], 0.6, ends="flush", simple_path=True, layer=18, datatype=0))  # L18_0
tsmc350nm_verticalscanne.add(gdstk.FlexPath([(127.1,16.45),(127.1,2.2)], 0.6, ends="flush", simple_path=True, layer=18, datatype=0))  # L18_0
tsmc350nm_verticalscanne.add(gdstk.FlexPath([(99.1,16.45),(99.1,3.55)], 0.6, ends="flush", simple_path=True, layer=18, datatype=0))  # L18_0
tsmc350nm_verticalscanne.add(gdstk.FlexPath([(71.1,16.45),(71.1,4.9)], 0.6, ends="flush", simple_path=True, layer=18, datatype=0))  # L18_0
tsmc350nm_verticalscanne.add(gdstk.FlexPath([(146.7,16.45),(146.7,0.9)], 0.6, ends="flush", simple_path=True, layer=18, datatype=0))  # L18_0
tsmc350nm_verticalscanne.add(gdstk.FlexPath([(118.7,16.45),(118.7,2.2)], 0.6, ends="flush", simple_path=True, layer=18, datatype=0))  # L18_0
tsmc350nm_verticalscanne.add(gdstk.FlexPath([(90.7,16.45),(90.7,3.55)], 0.6, ends="flush", simple_path=True, layer=18, datatype=0))  # L18_0
tsmc350nm_verticalscanne.add(gdstk.FlexPath([(62.7,16.45),(62.7,4.9)], 0.6, ends="flush", simple_path=True, layer=18, datatype=0))  # L18_0
tsmc350nm_verticalscanne.add(gdstk.FlexPath([(5.9,22),(5.9,0)], 1.5, ends="flush", simple_path=True, layer=18, datatype=0))  # L18_0
tsmc350nm_verticalscanne.add(gdstk.FlexPath([(164.35,22),(164.35,0)], 1.5, ends="flush", simple_path=True, layer=18, datatype=0))  # L18_0
tsmc350nm_verticalscanne.add(gdstk.FlexPath([(162.35,22),(162.35,0)], 1.5, ends="flush", simple_path=True, layer=18, datatype=0))  # L18_0
tsmc350nm_verticalscanne.add(gdstk.FlexPath([(160.7,15.25),(160.7,6.53)], 0.6, ends="flush", simple_path=True, layer=18, datatype=0))  # L18_0
tsmc350nm_verticalscanne.add(gdstk.FlexPath([(155.1,15.25),(155.1,7.65)], 0.6, ends="flush", simple_path=True, layer=18, datatype=0))  # L18_0
tsmc350nm_verticalscanne.add(gdstk.FlexPath([(122.9,13.95),(122.9,8)], 0.6, ends="flush", simple_path=True, layer=18, datatype=0))  # L18_0
tsmc350nm_verticalscanne.add(gdstk.FlexPath([(94.9,13.95),(94.9,8)], 0.6, ends="flush", simple_path=True, layer=18, datatype=0))  # L18_0
tsmc350nm_verticalscanne.add(gdstk.FlexPath([(66.9,13.95),(66.9,8)], 0.6, ends="flush", simple_path=True, layer=18, datatype=0))  # L18_0
tsmc350nm_verticalscanne.add(gdstk.FlexPath([(135.5,12.69),(135.5,7.05)], 0.6, ends="flush", simple_path=True, layer=18, datatype=0))  # L18_0
tsmc350nm_verticalscanne.add(gdstk.FlexPath([(107.5,12.69),(107.5,7.05)], 0.6, ends="flush", simple_path=True, layer=18, datatype=0))  # L18_0
tsmc350nm_verticalscanne.add(gdstk.FlexPath([(79.5,12.69),(79.5,7.05)], 0.6, ends="flush", simple_path=True, layer=18, datatype=0))  # L18_0
tsmc350nm_verticalscanne.add(gdstk.FlexPath([(51.5,12.69),(51.5,7.05)], 0.6, ends="flush", simple_path=True, layer=18, datatype=0))  # L18_0
tsmc350nm_verticalscanne.add(gdstk.FlexPath([(38.9,13.95),(38.9,8)], 0.6, ends="flush", simple_path=True, layer=18, datatype=0))  # L18_0
tsmc350nm_verticalscanne.add(gdstk.Reference(tgate_with_inverter, (2.9,8.95)))
tsmc350nm_verticalscanne.add(gdstk.Reference(tgate_with_inverter, (11.95,8.95)))
tsmc350nm_verticalscanne.add(gdstk.Reference(tgate_with_inverter, (30.05,8.95)))
tsmc350nm_verticalscanne.add(gdstk.Reference(tgate_with_inverter, (21,8.95)))
r = gdstk.Reference(inv0_0, (150.9,8.95)); r.repetition = gdstk.Repetition(4, 1, v1=(2.8,0), v2=(0,0)); tsmc350nm_verticalscanne.add(r)
r = gdstk.Reference(dfcn1, (38.2,8.95)); r.repetition = gdstk.Repetition(4, 1, v1=(28,0), v2=(0,0)); tsmc350nm_verticalscanne.add(r)
tsmc350nm_verticalscanne.add(gdstk.Reference(m2_m1_cdns_757437017560, (19.4,13.95)))
tsmc350nm_verticalscanne.add(gdstk.Reference(m2_m1_cdns_757437017560, (28.45,13.95)))
tsmc350nm_verticalscanne.add(gdstk.Reference(m2_m1_cdns_757437017560, (37.5,13.95)))
tsmc350nm_verticalscanne.add(gdstk.Reference(m2_m1_cdns_757437017560, (43.1,1.3)))
tsmc350nm_verticalscanne.add(gdstk.Reference(m2_m1_cdns_757437017560, (5.9,8.05)))
tsmc350nm_verticalscanne.add(gdstk.Reference(m2_m1_cdns_757437017560, (14.95,8.05)))
tsmc350nm_verticalscanne.add(gdstk.Reference(m2_m1_cdns_757437017560, (24,8.05)))
tsmc350nm_verticalscanne.add(gdstk.Reference(m2_m1_cdns_757437017560, (33.05,8.05)))
tsmc350nm_verticalscanne.add(gdstk.Reference(m2_m1_cdns_757437017560, (33.05,12.01)))
tsmc350nm_verticalscanne.add(gdstk.Reference(m2_m1_cdns_757437017560, (24,12.01)))
tsmc350nm_verticalscanne.add(gdstk.Reference(m2_m1_cdns_757437017560, (14.95,12.01)))
tsmc350nm_verticalscanne.add(gdstk.Reference(m2_m1_cdns_757437017560, (5.9,12.01)))
tsmc350nm_verticalscanne.add(gdstk.Reference(m2_m1_cdns_757437017560, (37.5,1.3)))
tsmc350nm_verticalscanne.add(gdstk.Reference(m2_m1_cdns_757437017560, (31.5,1.3)))
tsmc350nm_verticalscanne.add(gdstk.Reference(m2_m1_cdns_757437017560, (28.45,2.65)))
tsmc350nm_verticalscanne.add(gdstk.Reference(m2_m1_cdns_757437017560, (22.45,2.65)))
tsmc350nm_verticalscanne.add(gdstk.Reference(m2_m1_cdns_757437017560, (19.4,4)))
tsmc350nm_verticalscanne.add(gdstk.Reference(m2_m1_cdns_757437017560, (13.4,6.7)))
tsmc350nm_verticalscanne.add(gdstk.Reference(m2_m1_cdns_757437017560, (3.2,14.75)))
tsmc350nm_verticalscanne.add(gdstk.Reference(m2_m1_cdns_757437017560, (3.3,6.7)))
tsmc350nm_verticalscanne.add(gdstk.Reference(m2_m1_cdns_757437017560, (1.95,6.84)))
tsmc350nm_verticalscanne.add(gdstk.Reference(m2_m1_cdns_757437017560, (0.9,1.3)))
tsmc350nm_verticalscanne.add(gdstk.Reference(m2_m1_cdns_757437017560, (0.9,3.99)))
tsmc350nm_verticalscanne.add(gdstk.Reference(m2_m1_cdns_757437017560, (2.2,2.65)))
tsmc350nm_verticalscanne.add(gdstk.Reference(m2_m1_cdns_757437017560, (10.35,5.35)))
tsmc350nm_verticalscanne.add(gdstk.Reference(m2_m1_cdns_757437017560, (31.5,14.94)))
tsmc350nm_verticalscanne.add(gdstk.Reference(m2_m1_cdns_757437017560, (22.45,14.94)))
tsmc350nm_verticalscanne.add(gdstk.Reference(m2_m1_cdns_757437017560, (13.4,14.94)))
tsmc350nm_verticalscanne.add(gdstk.Reference(m2_m1_cdns_757437017560, (10.35,13.95)))
tsmc350nm_verticalscanne.add(gdstk.Reference(m2_m1_cdns_757437017560, (62.7,5.35)))
tsmc350nm_verticalscanne.add(gdstk.Reference(m2_m1_cdns_757437017560, (71.1,5.35)))
tsmc350nm_verticalscanne.add(gdstk.Reference(m2_m1_cdns_757437017560, (90.7,4)))
tsmc350nm_verticalscanne.add(gdstk.Reference(m2_m1_cdns_757437017560, (99.1,4)))
tsmc350nm_verticalscanne.add(gdstk.Reference(m2_m1_cdns_757437017560, (118.7,2.65)))
tsmc350nm_verticalscanne.add(gdstk.Reference(m2_m1_cdns_757437017560, (127.1,2.65)))
tsmc350nm_verticalscanne.add(gdstk.Reference(m2_m1_cdns_757437017560, (146.7,1.3)))
tsmc350nm_verticalscanne.add(gdstk.Reference(m2_m1_cdns_757437017560, (160.7,6.7)))
tsmc350nm_verticalscanne.add(gdstk.Reference(m2_m1_cdns_757437017560, (160.7,15.2)))
tsmc350nm_verticalscanne.add(gdstk.Reference(m2_m1_cdns_757437017560, (156.5,13.95)))
tsmc350nm_verticalscanne.add(gdstk.Reference(m2_m1_cdns_757437017560, (155.1,8.05)))
tsmc350nm_verticalscanne.add(gdstk.Reference(m2_m1_cdns_757437017560, (150.9,13.95)))
tsmc350nm_verticalscanne.add(gdstk.Reference(m2_m1_cdns_757437017560, (155.1,15.2)))
tsmc350nm_verticalscanne.add(gdstk.Reference(m2_m1_cdns_757437017560, (135.49,6.7)))
tsmc350nm_verticalscanne.add(gdstk.Reference(m2_m1_cdns_757437017560, (107.5,6.7)))
tsmc350nm_verticalscanne.add(gdstk.Reference(m2_m1_cdns_757437017560, (79.51,6.7)))
tsmc350nm_verticalscanne.add(gdstk.Reference(m2_m1_cdns_757437017560, (51.49,6.7)))
tsmc350nm_verticalscanne.add(gdstk.Reference(m2_m1_cdns_757437017560, (38.9,8.05)))
tsmc350nm_verticalscanne.add(gdstk.Reference(m2_m1_cdns_757437017560, (66.9,8.05)))
tsmc350nm_verticalscanne.add(gdstk.Reference(m2_m1_cdns_757437017560, (94.89,8.05)))
tsmc350nm_verticalscanne.add(gdstk.Reference(m2_m1_cdns_757437017560, (122.9,8.05)))
tsmc350nm_verticalscanne.add(gdstk.Reference(m2_m1_cdns_757437017561, (54.54,10.13)))
tsmc350nm_verticalscanne.add(gdstk.Reference(m2_m1_cdns_757437017561, (46.61,20.34)))
tsmc350nm_verticalscanne.add(gdstk.Reference(m2_m1_cdns_757437017562, (162.33,10.09)))
tsmc350nm_verticalscanne.add(gdstk.Reference(m2_m1_cdns_757437017562, (164.35,20.32)))
tsmc350nm_verticalscanne.add(gdstk.Label('In<3>', (0.3,4.19), layer=40, texttype=0))
tsmc350nm_verticalscanne.add(gdstk.Label('In<2>', (0.3,7.04), layer=40, texttype=0))
tsmc350nm_verticalscanne.add(gdstk.Label('In<1>', (0.3,14.95), layer=40, texttype=0))
tsmc350nm_verticalscanne.add(gdstk.Label('In<0>', (0.3,17.8), layer=40, texttype=0))
tsmc350nm_verticalscanne.add(gdstk.Label('RSTBar_b', (156.5,0.18), layer=41, texttype=0))
tsmc350nm_verticalscanne.add(gdstk.Label('CLK_b', (150.9,0.2), layer=41, texttype=0))
tsmc350nm_verticalscanne.add(gdstk.Label('Out', (5.9,21.68), layer=41, texttype=0))
tsmc350nm_verticalscanne.add(gdstk.Label('Out_b', (5.9,0.5), layer=41, texttype=0))
tsmc350nm_verticalscanne.add(gdstk.Label('VDD_b', (46.61,0.32), layer=41, texttype=0))
tsmc350nm_verticalscanne.add(gdstk.Label('GND_b', (54.54,0.28), layer=41, texttype=0))
tsmc350nm_verticalscanne.add(gdstk.Label('VDD', (46.61,21.78), layer=41, texttype=0))
tsmc350nm_verticalscanne.add(gdstk.Label('GND', (54.54,21.81), layer=41, texttype=0))
tsmc350nm_verticalscanne.add(gdstk.Label('Din', (43.1,21.79), layer=41, texttype=0))
tsmc350nm_verticalscanne.add(gdstk.Label('Qout', (43.1,0.24), layer=41, texttype=0))
tsmc350nm_verticalscanne.add(gdstk.Label('RSTBar', (156.5,21.81), layer=41, texttype=0))
tsmc350nm_verticalscanne.add(gdstk.Label('CLK', (150.9,21.82), layer=41, texttype=0))

lib.write_gds('TSMC350nm_VerticalScanner_STD.gds')
